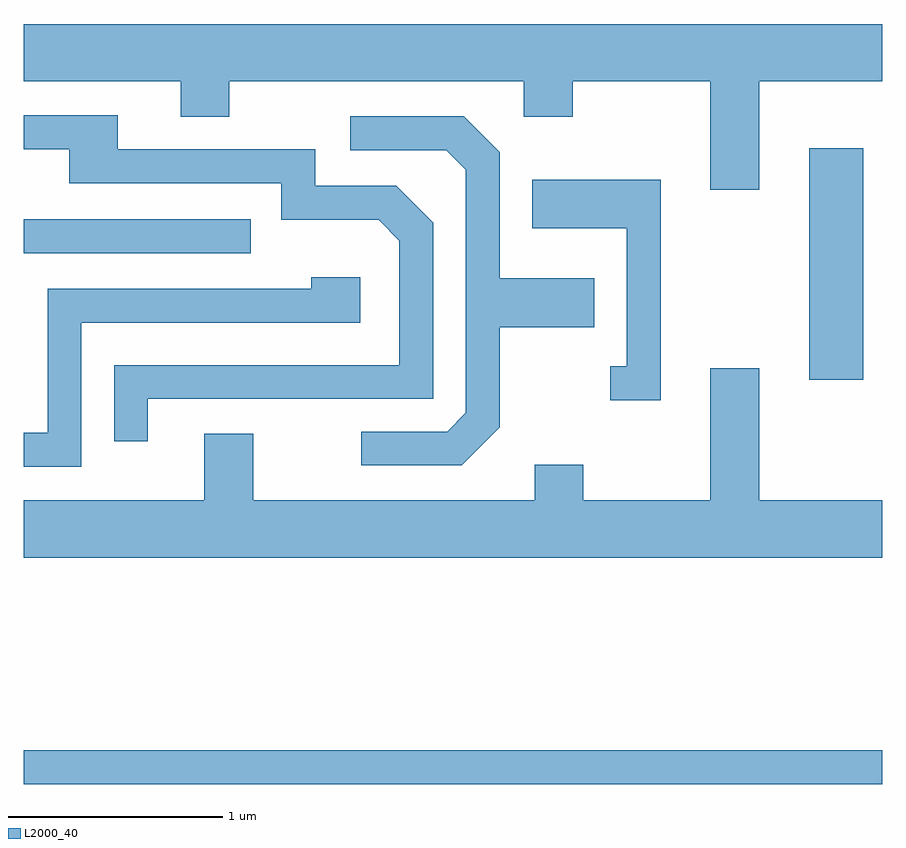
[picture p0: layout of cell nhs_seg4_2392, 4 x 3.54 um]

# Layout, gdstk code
import gdstk
lib = gdstk.Library(unit=1e-6, precision=1e-09)
def R(c, l, rs):  # rectangles x0, y0, x1, y1
    for r in rs: c.add(gdstk.rectangle(r[:2], r[2:], *l))
def P(c, l, *ps):  # polygons
    for p in ps: c.add(gdstk.Polygon(p, *l))
L2000_40 = (2000, 40)

nhs_seg4_2392 = lib.new_cell('nhs_seg4_2392')
R(nhs_seg4_2392, L2000_40, [(255.611,1278.141,259.611,1278.299), (259.271,1280.026,259.524,1281.104), (255.611,1280.616,256.668,1280.774)])
P(nhs_seg4_2392, L2000_40, [(259.039,1281.416),(259.611,1281.416),(259.611,1281.684),(255.611,1281.684),(255.611,1281.416),(256.341,1281.416),(256.341,1281.251),(256.569,1281.251),(256.569,1281.416),(257.941,1281.416),(257.941,1281.251),(258.169,1281.251),(258.169,1281.416),(258.811,1281.416),(258.811,1280.911),(259.039,1280.911)],
  [(256.189,1279.936),(257.519,1279.936),(257.519,1280.757),(257.347,1280.929),(256.969,1280.929),(256.969,1281.099),(256.049,1281.099),(256.049,1281.259),(255.611,1281.259),(255.611,1281.101),(255.821,1281.101),(255.821,1280.941),(256.811,1280.941),(256.811,1280.771),(257.264,1280.771),(257.361,1280.674),(257.361,1280.094),(256.031,1280.094),(256.031,1279.738),(256.189,1279.738)],
  [(257.829,1279.804),(257.829,1280.271),(258.269,1280.271),(258.269,1280.499),(257.829,1280.499),(257.829,1281.087),(257.662,1281.254),(257.133,1281.254),(257.133,1281.096),(257.579,1281.096),(257.671,1281.004),(257.671,1279.872),(257.584,1279.784),(257.183,1279.784),(257.183,1279.626),(257.652,1279.626)],
  [(258.579,1280.959),(257.981,1280.959),(257.981,1280.731),(258.421,1280.731),(258.421,1280.089),(258.343,1280.089),(258.343,1279.931),(258.579,1279.931)],
  [(255.879,1280.291),(257.179,1280.291),(257.179,1280.504),(256.951,1280.504),(256.951,1280.449),(255.721,1280.449),(255.721,1279.779),(255.611,1279.779),(255.611,1279.621),(255.879,1279.621)],
  [(259.611,1279.464),(259.039,1279.464),(259.039,1280.079),(258.811,1280.079),(258.811,1279.464),(258.219,1279.464),(258.219,1279.629),(257.991,1279.629),(257.991,1279.464),(256.679,1279.464),(256.679,1279.774),(256.451,1279.774),(256.451,1279.464),(255.611,1279.464),(255.611,1279.196),(259.611,1279.196)])

lib.write_gds('nhs_seg4_2392.gds')
